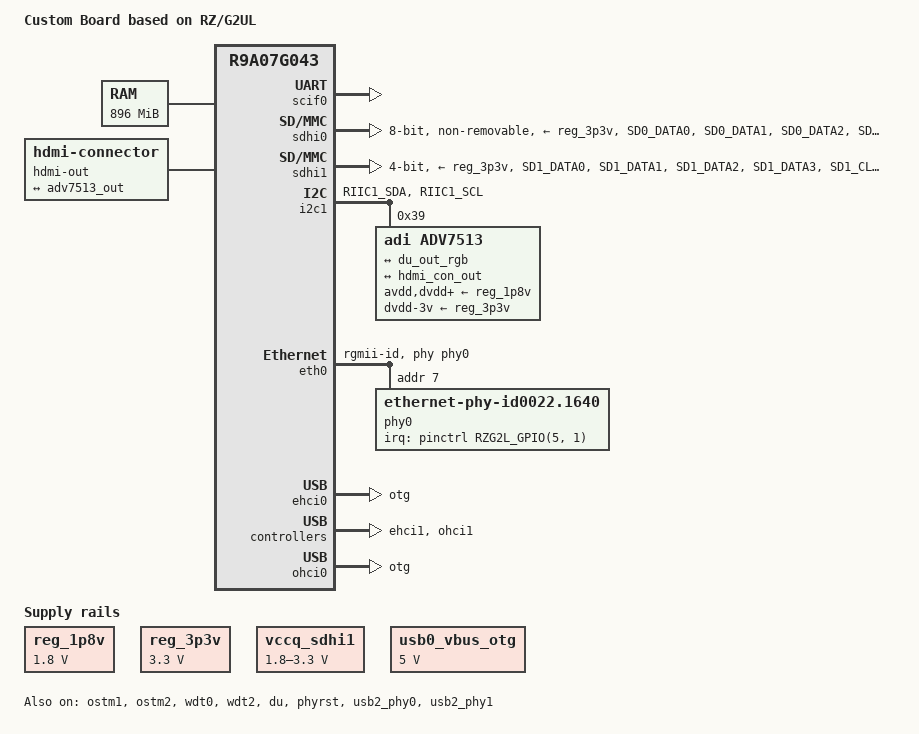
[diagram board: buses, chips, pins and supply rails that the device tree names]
/dts-v1/;
#include "r9a07g043.dtsi"
#include <dt-bindings/gpio/gpio.h>
#include <dt-bindings/pinctrl/rzg2l-pinctrl.h>

/ {
	/* Please modify the 'model' and 'compatible' for your board. However, you must keep "renesas,r9a07g043" because some drivers reference this string */
	model = "Custom Board based on RZ/G2UL";
	compatible =  "custom,rzg2ul-board", "renesas,r9a07g043";

	/* Aliases */
    aliases {
        serial0 = &scif0;  /* force SCIF0 to /dev/ttySC0 */
		i2c1 = &i2c1;  /* Maps i2c1 to I2C1 controller */  
        mmc0 = &sdhi0; /* eMMC, force SDHI0 as /dev/mmcblk0 */
        mmc1 = &sdhi1; /* SD card, force SDHI1 as /dev/mmcblk1 */
		ethernet0 = &eth0; /* Maps ethernet0 to primary Ethernet controller */
    };

    /* Chosen Node for Console */
    chosen {
        stdout-path = "serial0:115200n8";  /* Set serial console */
    };

	/* Memory Node */
    memory@48000000 {
		device_type = "memory";
		/* first 128MB is reserved for secure area. */
		reg = <0x0 0x48000000 0x0 0x38000000>;
	};

	/* Reserved memory regions */
	reserved-memory {
		#address-cells = <2>;
		#size-cells = <2>;
		ranges;

		global_cma: linux,cma@58000000 {
			compatible = "shared-dma-pool";
			linux,cma-default;
			reusable;
			reg = <0x0 0x58000000 0x0 0x10000000>;
		};
	};

	/* Voltage Regulators */
	reg_1p8v: regulator0 {
		compatible = "regulator-fixed";
		regulator-name = "fixed-1.8V";
		regulator-min-microvolt = <1800000>;
		regulator-max-microvolt = <1800000>;
		regulator-boot-on;
		regulator-always-on;
	};

	reg_3p3v: regulator1 {
		compatible = "regulator-fixed";
		regulator-name = "fixed-3.3V";
		regulator-min-microvolt = <3300000>;
		regulator-max-microvolt = <3300000>;
		regulator-boot-on;
		regulator-always-on;
	};
	
	/* GPIO-controlled regulator for SD card interface */
	vccq_sdhi1: regulator-vccq-sdhi1 {
		compatible = "regulator-gpio";
		regulator-name = "SDHI1 VccQ";
		regulator-min-microvolt = <1800000>;
		regulator-max-microvolt = <3300000>;
		gpios-states = <1>;
		states = <3300000 1>, <1800000 0>;
	};

	/* USB VBUS power supply */
    usb0_vbus_otg: regulator-usb0-vbus-otg {
		compatible = "regulator-fixed";

		regulator-name = "USB0_VBUS_OTG";
		regulator-min-microvolt = <5000000>;
		regulator-max-microvolt = <5000000>;
	};

	/* HDMI connector description */
	hdmi-out {
		compatible = "hdmi-connector";
		type = "d";

		port {
			hdmi_con_out: endpoint {
				remote-endpoint = <&adv7513_out>;
			};
		};
	};

};

/* GPIO configuration for SDHI1 voltage switching between 1.8V and 3.3V */
&vccq_sdhi1 {
	gpios = <&pinctrl RZG2L_GPIO(6, 1) GPIO_ACTIVE_HIGH>;
};

/* External clock configuration */
&extal_clk {
	clock-frequency = <24000000>;
};

/* OS Timer configuration */
&ostm1 {
	status = "okay";
};

&ostm2 {
	status = "okay";
};

/* Watchdog Timer configuration */
&wdt0 {
	status = "okay";
	timeout-sec = <60>;
};

&wdt2 {
	status = "okay";
	timeout-sec = <60>;
};

/* Serial Interface configuration */
&scif0 {
	pinctrl-0 = <&scif0_pins>;
	pinctrl-names = "default";
	status = "okay";
};

/* eMMC controller configuration */
&sdhi0 {
	pinctrl-0 = <&sdhi0_emmc_pins>;
	pinctrl-1 = <&sdhi0_emmc_pins>;
	pinctrl-names = "default", "state_uhs";

	vmmc-supply = <&reg_3p3v>;
	vqmmc-supply = <&reg_1p8v>;
	bus-width = <8>;
	//mmc-hs200-1_8v; /* HS200 mode at 1.8V support, uncomment if your board support */
	non-removable;
	fixed-emmc-driver-type = <1>;
	status = "okay";
};

&sdhi1 {
	pinctrl-0 = <&sdhi1_pins>;
	pinctrl-1 = <&sdhi1_pins_uhs>;
	pinctrl-names = "default", "state_uhs";

	vmmc-supply = <&reg_3p3v>;
	vqmmc-supply = <&vccq_sdhi1>;
	bus-width = <4>;
	//sd-uhs-sdr50; /* UHS SDR50 support, uncomment if your board support */
	//sd-uhs-sdr104; /* UHS SDR104 support, uncomment if your board support */
	status = "okay";
};

/* I2C1 controller configuration */
&i2c1 {
	pinctrl-0 = <&i2c1_pins>;
	pinctrl-names = "default";

	status = "okay";

	/* adv7513 HDMI transmitter configuration */
	adv7513: adv7513@39 {
		compatible = "adi,adv7513";
		reg = <0x39>;

		adi,input-depth = <8>;
		adi,input-colorspace = "rgb";
		adi,input-clock = "1x";

		avdd-supply = <&reg_1p8v>;
		dvdd-supply = <&reg_1p8v>;
		pvdd-supply = <&reg_1p8v>;
		dvdd-3v-supply = <&reg_3p3v>;
		bgvdd-supply = <&reg_1p8v>;

		ports {
			#address-cells = <1>;
			#size-cells = <0>;

			/* Input port (connected to parallel display ) */
			port@0 {
				reg = <0>;

				adv7513_in: endpoint {
					remote-endpoint = <&du_out_rgb>;
				};
			};

			/* Output port (connected to HDMI) */
			port@1 {
				reg = <1>;

				adv7513_out: endpoint {
					remote-endpoint = <&hdmi_con_out>;
				};
			};
		};
	};
};

/* Display Unit configuration */
&du {
	pinctrl-0 = <&du_pins>;
	pinctrl-names = "default";

	status = "okay";

	ports {
		port@0 {
			du_out_rgb: endpoint {
				remote-endpoint = <&adv7513_in>; /* Connected to ADV7513 input */
			};
		};
	};
};

/* Ethernet controller configuration */
&eth0 {
	pinctrl-0 = <&eth0_pins>;
	pinctrl-names = "default";
	phy-handle = <&phy0>;
	phy-mode = "rgmii-id";
	status = "okay";

	phy0: ethernet-phy@7 {
		compatible = "ethernet-phy-id0022.1640",
			     "ethernet-phy-ieee802.3-c22";
		reg = <7>;
		rxc-skew-psec = <2400>;
		txc-skew-psec = <2400>;
		rxdv-skew-psec = <0>;
		txen-skew-psec = <0>;
		rxd0-skew-psec = <0>;
		rxd1-skew-psec = <0>;
		rxd2-skew-psec = <0>;
		rxd3-skew-psec = <0>;
		txd0-skew-psec = <0>;
		txd1-skew-psec = <0>;
		txd2-skew-psec = <0>;
		txd3-skew-psec = <0>;

		interrupt-parent = <&pinctrl>;
		interrupts = <RZG2L_GPIO(5, 1) IRQ_TYPE_LEVEL_LOW>;
	};
};

/* USB EHCI controller 0 (USB 2.0 host) */
&ehci0 {
	dr_mode = "otg";
	status = "okay";

	memory-region = <&global_cma>;
};

/* USB EHCI controller 1 (USB 2.0 host) */
&ehci1 {
	status = "okay";

	memory-region = <&global_cma>;
};

/* USB OHCI controller 0 (USB 1.1 host) */
&ohci0 {
	dr_mode = "otg"; /* Dual-role (host/device) mode with OTG support */
	status = "okay";

	memory-region = <&global_cma>;
};

/* USB OHCI controller 1 (USB 1.1 host) */
&ohci1 {
	status = "okay";

	memory-region = <&global_cma>;
};

/* PHY reset controller */
&phyrst {
	status = "okay";
};

/* USB PHY 0 configuration */
&usb2_phy0 {
	pinctrl-0 = <&usb0_pins>;
	pinctrl-names = "default";

	vbus-supply = <&usb0_vbus_otg>;
	status = "okay";
};

/* USB PHY 1 configuration */
&usb2_phy1 {
	pinctrl-0 = <&usb1_pins>;
	pinctrl-names = "default";

	status = "okay";
};


/*  Pin Control configuration - defines all the pin muxing for the SoC */
&pinctrl {

	/* SCIF0 (Serial Interface) pin configuration */
	scif0_pins: scif0 {
		pinmux = <RZG2L_PORT_PINMUX(6, 4, 6)>, /* TxD */
			 <RZG2L_PORT_PINMUX(6, 3, 6)>; /* RxD */
	};

	/* eMMC (SDHI0) pin configuration */
    sdhi0_emmc_pins: sd0emmc {
		sd0_emmc_data {
			pins = "SD0_DATA0", "SD0_DATA1", "SD0_DATA2", "SD0_DATA3",
			       "SD0_DATA4", "SD0_DATA5", "SD0_DATA6", "SD0_DATA7";
			power-source = <1800>;
		};

		sd0_emmc_ctrl {
			pins = "SD0_CLK", "SD0_CMD";
			power-source = <1800>;
		};

		sd0_emmc_rst {
			pins = "SD0_RST#";
			power-source = <1800>;
		};
	};

	/* SD Card (SDHI1) pin configuration - 3.3V mode */
	sdhi1_pins: sd1 {
		sd1_data {
			pins = "SD1_DATA0", "SD1_DATA1", "SD1_DATA2", "SD1_DATA3";
			power-source = <3300>;
		};

		sd1_ctrl {
			pins = "SD1_CLK", "SD1_CMD";
			power-source = <3300>;
		};

		sd1_mux {
			pinmux = <RZG2L_PORT_PINMUX(0, 2, 1)>; /* SD1_CD */
		};
	};

	sdhi1_pins_uhs: sd1_uhs {
		sd1_data_uhs {
			pins = "SD1_DATA0", "SD1_DATA1", "SD1_DATA2", "SD1_DATA3";
			power-source = <1800>;
		};

		sd1_ctrl_uhs {
			pins = "SD1_CLK", "SD1_CMD";
			power-source = <1800>;
		};

		sd1_mux_uhs {
			pinmux = <RZG2L_PORT_PINMUX(0, 2, 1)>; /* SD1_CD */
		};
	};

	/* I2C1 pin configuration */
	i2c1_pins: i2c1 {
		pins = "RIIC1_SDA", "RIIC1_SCL";
		input-enable;
	};

	/* du pin configuration */
	du_pins: du {
		data {
			pinmux = <RZG2L_PORT_PINMUX(11, 2, 6)>,
				 <RZG2L_PORT_PINMUX(13, 1, 6)>,
				 <RZG2L_PORT_PINMUX(13, 0, 6)>,
				 <RZG2L_PORT_PINMUX(13, 4, 6)>,
				 <RZG2L_PORT_PINMUX(13, 3, 6)>,
				 <RZG2L_PORT_PINMUX(12, 1, 6)>,
				 <RZG2L_PORT_PINMUX(13, 2, 6)>,
				 <RZG2L_PORT_PINMUX(14, 0, 6)>,
				 <RZG2L_PORT_PINMUX(14, 2, 6)>,
				 <RZG2L_PORT_PINMUX(14, 1, 6)>,
				 <RZG2L_PORT_PINMUX(16, 0, 6)>,
				 <RZG2L_PORT_PINMUX(15, 0, 6)>,
				 <RZG2L_PORT_PINMUX(16, 1, 6)>,
				 <RZG2L_PORT_PINMUX(15, 1, 6)>,
				 <RZG2L_PORT_PINMUX(15, 3, 6)>,
				 <RZG2L_PORT_PINMUX(18, 0, 6)>,
				 <RZG2L_PORT_PINMUX(15, 2, 6)>,
				 <RZG2L_PORT_PINMUX(17, 0, 6)>,
				 <RZG2L_PORT_PINMUX(17, 2, 6)>,
				 <RZG2L_PORT_PINMUX(17, 1, 6)>,
				 <RZG2L_PORT_PINMUX(18, 1, 6)>,
				 <RZG2L_PORT_PINMUX(18, 2, 6)>,
				 <RZG2L_PORT_PINMUX(17, 3, 6)>,
				 <RZG2L_PORT_PINMUX(18, 3, 6)>;
			drive-strength = <2>;
		};

		sync {
			pinmux = <RZG2L_PORT_PINMUX(11, 0, 6)>, /* HSYNC */
				 <RZG2L_PORT_PINMUX(12, 0, 6)>; /* VSYNC */
			drive-strength = <2>;
		};

		de {
			pinmux = <RZG2L_PORT_PINMUX(11, 1, 6)>; /* DE */
			drive-strength = <2>;
		};

		clk {
			pinmux = <RZG2L_PORT_PINMUX(11, 3, 6)>; /* CLK */
		};

	};

	/* Ethernet pin configuration */
	eth0_pins: eth0 {
		txc {
			pinmux = <RZG2L_PORT_PINMUX(1, 0, 1)>; /* ET0_TXC */
			output-enable;
			power-source = <1800>;
		};

		mux {
			pinmux = <RZG2L_PORT_PINMUX(4, 5, 1)>, /* ET0_LINKSTA */
				 <RZG2L_PORT_PINMUX(4, 3, 1)>, /* ET0_MDC */
				 <RZG2L_PORT_PINMUX(4, 4, 1)>, /* ET0_MDIO */
				 <RZG2L_PORT_PINMUX(1, 1, 1)>, /* ET0_TX_CTL */
				 <RZG2L_PORT_PINMUX(1, 2, 1)>, /* ET0_TXD0 */
				 <RZG2L_PORT_PINMUX(1, 3, 1)>, /* ET0_TXD1 */
				 <RZG2L_PORT_PINMUX(1, 4, 1)>, /* ET0_TXD2 */
				 <RZG2L_PORT_PINMUX(2, 0, 1)>, /* ET0_TXD3 */
				 <RZG2L_PORT_PINMUX(3, 0, 1)>, /* ET0_RXC */
				 <RZG2L_PORT_PINMUX(3, 1, 1)>, /* ET0_RX_CTL */
				 <RZG2L_PORT_PINMUX(3, 2, 1)>, /* ET0_RXD0 */
				 <RZG2L_PORT_PINMUX(3, 3, 1)>, /* ET0_RXD1 */
				 <RZG2L_PORT_PINMUX(4, 0, 1)>, /* ET0_RXD2 */
				 <RZG2L_PORT_PINMUX(4, 1, 1)>; /* ET0_RXD3 */
			power-source = <1800>;
		};
	};

	/* USB0 pin configuration */
	usb0_pins: usb0 {
		pinmux = <RZG2L_PORT_PINMUX(5, 0, 1)>, /* VBUS */
				<RZG2L_PORT_PINMUX(5, 2, 1)>, /* OVC */
				<RZG2L_PORT_PINMUX(5, 3, 1)>; /* OTG_ID */
	};

	/* USB1 pin configuration */
	usb1_pins: usb1 {
		pinmux = <RZG2L_PORT_PINMUX(5, 4, 5)>, /* OVC */
				<RZG2L_PORT_PINMUX(6, 0, 1)>; /* VBUS */
	};

};
